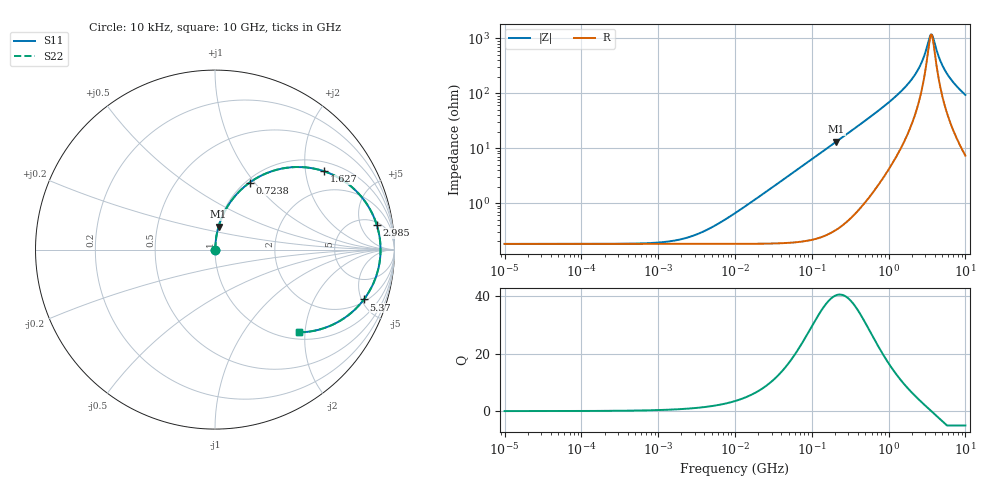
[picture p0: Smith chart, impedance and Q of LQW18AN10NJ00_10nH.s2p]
! Touchstone 2-port S-parameters  (series-through model)
! Part: LQW18AN10NJ00_10nH
! Generated: 2026-08-04 18:16 UTC  by s2p tool
! Reference impedance: 50.0 Ohm
! Cp estimated from SRF: 0.195 pF (SRF=3600.0 MHz) [PHYSICS ESTIMATE]
! Rp (core loss) from Q=38 @ 500.0 MHz: 1.2 kOhm [DATASHEET FIT]
! ESTIMATED / behavioral model - NOT manufacturer-measured data.
# Hz S RI R 50
! freq  ReS11  ImS11  ReS21  ImS21  ReS12  ImS12  ReS22  ImS22
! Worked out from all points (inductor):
!   520 points, 10 kHz to 10 GHz, reference 50 ohm
!   read as one part in series: L = 10 nH near 8.71 MHz
!   highest Q = 40.3 at 208.9 MHz (marker M1), where L = 10 nH
!   self-resonance near 3.601 GHz
!   S11 on the Smith chart (normalised r, x): 10 kHz: 1.00, +0.00; 723.8 MHz: 1.04, +0.95; 1.627 GHz: 1.28, +2.54; 2.985 GHz: 6, +10; 5.37 GHz: 2.21, -5.23; 10 GHz: 1.15, -1.86
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10000  0.0018 6.26e-06  0.9982 -6.26e-06  0.9982 -6.26e-06  0.0018 6.26e-06
101157.9  0.0018 6.33e-05  0.9982 -6.33e-05  0.9982 -6.33e-05  0.0018 6.33e-05
1023293  0.0018 0.00064  0.9982 -0.00064  0.9982 -0.00064  0.0018 0.00064
1840772  0.0018 0.00115  0.9982 -0.00115  0.9982 -0.00115  0.0018 0.00115
3090295  0.0018 0.00193  0.9982 -0.00193  0.9982 -0.00193  0.0018 0.00193
5188000  0.00181 0.00325  0.9982 -0.00325  0.9982 -0.00325  0.00181 0.00325
1e7  0.00184 0.00626  0.9982 -0.00626  0.9982 -0.00626  0.00184 0.00626
1.011579e8  0.00614 0.0631  0.9939 -0.0631  0.9939 -0.0631  0.00614 0.0631
2.089296e8  0.0201 0.1286  0.9799 -0.1286  0.9799 -0.1286  0.0201 0.1286
4.025596e8  0.0675 0.2369  0.9325 -0.2369  0.9325 -0.2369  0.0675 0.2369
7.237695e8  0.1935 0.3737  0.8065 -0.3737  0.8065 -0.3737  0.1935 0.3737
1.012006e9  0.3316 0.4413  0.6684 -0.4413  0.6684 -0.4413  0.3316 0.4413
1.627143e9  0.6084 0.4363  0.3916 -0.4363  0.3916 -0.4363  0.6084 0.4363
2.339594e9  0.815 0.2953  0.185 -0.2953  0.185 -0.2953  0.815 0.2953
2.690297e9  0.8716 0.2099  0.1284 -0.2099  0.1284 -0.2099  0.8716 0.2099
2.985383e9  0.901 0.1384  0.099 -0.1384  0.099 -0.1384  0.901 0.1384
3.459293e9  0.9214 0.03  0.0786 -0.03  0.0786 -0.03  0.9214 0.03
3.658063e9  0.9223 -0.012  0.0777 0.012  0.0777 0.012  0.9223 -0.012
4.703687e9  0.8797 -0.1942  0.1203 0.1942  0.1203 0.1942  0.8797 -0.1942
5.370318e9  0.8295 -0.2779  0.1705 0.2779  0.1705 0.2779  0.8295 -0.2779
7.354429e9  0.6583 -0.4171  0.3417 0.4171  0.3417 0.4171  0.6583 -0.4171
1e10  0.4677 -0.4613  0.5323 0.4613  0.5323 0.4613  0.4677 -0.4613
